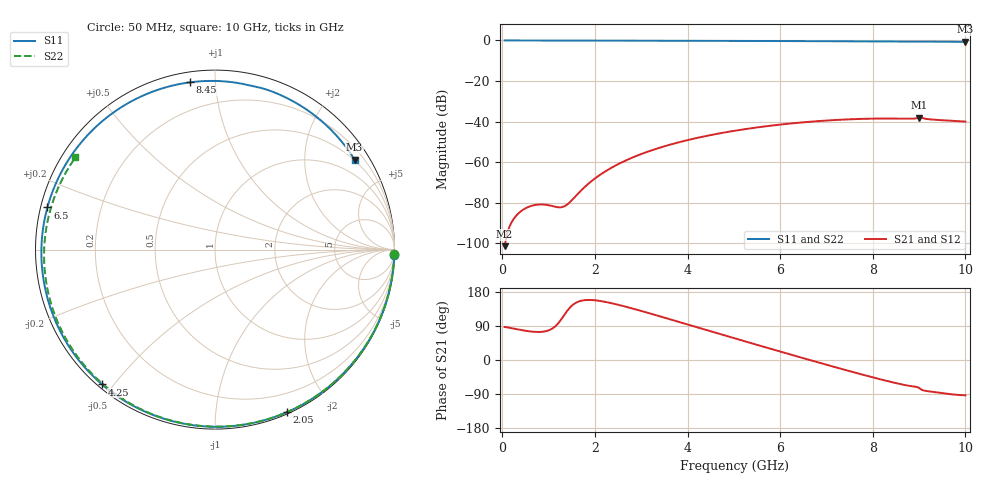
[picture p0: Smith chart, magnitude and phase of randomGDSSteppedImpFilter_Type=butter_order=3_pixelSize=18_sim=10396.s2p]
! freq	dB(S11)	phase(S11)	dB(S12)	phase(S12)
!  dB(S21)	phase(S21)	dB(S22)	phase(S22)
!S-par simulation data
#  GHz  S  DB  R 50
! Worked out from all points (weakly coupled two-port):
!   200 points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, 50 MHz to 10 GHz, reference 50 ohm
!   highest |S21| = -38.02 dB at 9 GHz (marker M1); lowest = -101.5 dB at 50 MHz (marker M2)
!   lowest |S11| = -0.7 dB at 10 GHz (marker M3), VSWR 25.66, Z = 24.1 + j167 ohm
!   |S11| at or under -10 dB: nowhere
!   |S22| runs from -0.6 to 0.0 dB; largest |S21 - S12| = 0
!   S11 on the Smith chart (normalised r, x): 50 MHz: 1, -67; 2.05 GHz: 0.02, -1.53; 4.25 GHz: 0.01, -0.47; 6.5 GHz: 0.02, +0.12; 8.45 GHz: 0.05, +0.86; 10 GHz: 0.48, +3.34
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0.05  -0.00 -1.7  -101.46 87.1  -101.46 87.1  -0.00 -1.3
0.7  -0.03 -23.2  -81.18 74.3  -81.18 74.3  -0.02 -17.6
1.45  -0.06 -47.5  -79.99 137.0  -79.99 137.0  -0.05 -36.1
1.75  -0.07 -56.9  -72.92 157.5  -72.92 157.5  -0.06 -43.3
2.05  -0.08 -66.2  -67.24 156.9  -67.24 156.9  -0.06 -50.4
2.35  -0.09 -75.3  -62.88 150.1  -62.88 150.1  -0.07 -57.4
2.65  -0.10 -84.3  -59.38 141.1  -59.38 141.1  -0.08 -64.3
3.4  -0.13 -106.1  -52.90 115.4  -52.90 115.4  -0.11 -81.0
4.25  -0.17 -129.9  -47.85 84.8  -47.85 84.8  -0.14 -99.1
5.05  -0.22 -152.2  -44.42 56.0  -44.42 56.0  -0.17 -115.3
5.8  -0.27 -173.4  -42.03 29.4  -42.03 29.4  -0.21 -130.0
6.5  -0.33 165.9  -40.37 4.8  -40.37 4.8  -0.26 -143.5
6.7  -0.35 159.7  -39.99 -2.1  -39.99 -2.1  -0.28 -147.3
7.1  -0.38 146.9  -39.35 -15.9  -39.35 -15.9  -0.31 -155.0
7.5  -0.42 133.5  -38.89 -29.4  -38.89 -29.4  -0.34 -162.7
7.95  -0.47 117.5  -38.58 -44.2  -38.58 -44.2  -0.38 -171.4
8.35  -0.51 102.4  -38.51 -56.6  -38.51 -56.6  -0.42 -179.2
8.45  -0.52 98.5  -38.52 -59.5  -38.52 -59.5  -0.43 178.8
8.85  -0.57 82.5  -38.60 -69.4  -38.60 -69.4  -0.48 170.8
9  -0.59 76.4  -38.02 -73.7  -38.02 -73.7  -0.50 167.7
9.45  -0.61 57.0  -39.28 -86.8  -39.28 -86.8  -0.55 158.4
10  -0.68 32.8  -40.02 -93.2  -40.02 -93.2  -0.61 146.5
